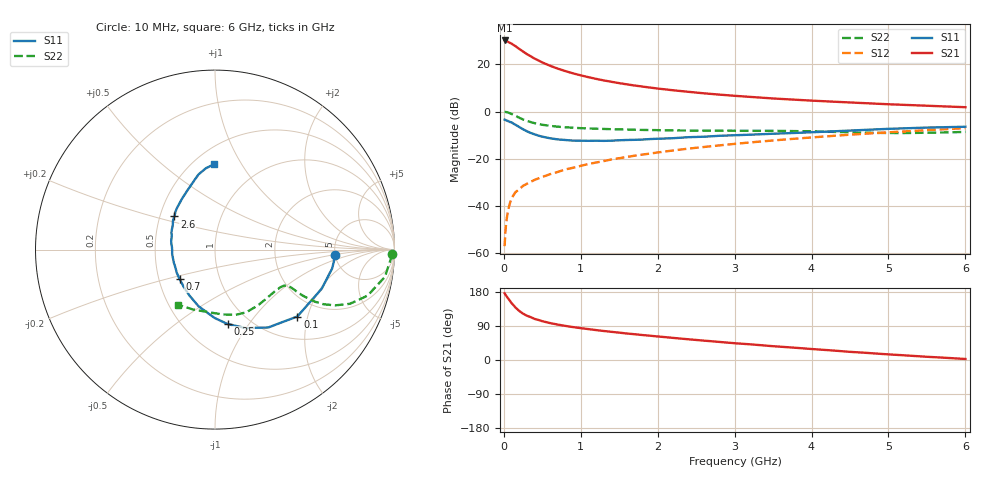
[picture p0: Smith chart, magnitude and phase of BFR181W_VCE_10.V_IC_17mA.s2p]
! Infineon Technologies  Discrete & RF Semiconductors
! BFR181W
! VCE =  10. V,  IC =  17 mA
! Common Emitter S-Parameters:  Jan 2017
# GHz  S  MA  R  50
!  f  S11  S21  S12  S22
! GHz  MAG  ANG  MAG  ANG  MAG  ANG  MAG  ANG
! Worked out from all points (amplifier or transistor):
!   77 points, 10 MHz to 6 GHz, reference 50 ohm
!   highest |S21| = 30.1 dB at 10 MHz (marker M1)
!   |S21| within 3 dB of that: start of sweep to 175.6 MHz
!   unconditionally stable (mu >= 1): 868.7 MHz to 2.718 GHz
!   at 130 MHz: K = 0.36, MSG = 31.7 dB, |S12| = -35.2 dB
!   at 2.2 GHz: K = 1.03, MAG = 11.6 dB, |S12| = -16.5 dB
!   at 6 GHz: K = 0.84, MSG = 4.4 dB, |S12| = -7.1 dB
!   S11 on the Smith chart (normalised r, x): 10 MHz: 5.01, -0.60; 100 MHz: 1.51, -1.73; 250 MHz: 0.79, -0.80; 700 MHz: 0.64, -0.22; 2.6 GHz: 0.59, +0.24; 6 GHz: 0.63, +0.77
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0.01  0.6714 -2.8  32.03 176.0  0.0014 88.1  0.9846 -1.5
0.02  0.6609 -9.2  31.52 172.6  0.0028 92.2  0.9798 -3.3
0.05  0.6333 -20.1  30.28 164.0  0.0072 77.5  0.9591 -9.1
0.1  0.5911 -39.1  27.5 150.0  0.0143 73.9  0.8887 -16.7
0.15  0.5258 -55.6  24.31 138.7  0.0194 68.8  0.8099 -21.9
0.2  0.4693 -68.6  21.21 129.5  0.0225 67.0  0.7378 -24.9
0.25  0.4207 -80.4  18.64 122.3  0.0266 64.7  0.6782 -26.7
0.3  0.3805 -90.4  16.43 116.8  0.0294 64.3  0.6301 -27.5
0.4  0.3283 -106.3  13.21 108.4  0.0355 65.0  0.5654 -27.7
0.5  0.2926 -119.2  10.94 102.4  0.041 65.8  0.5232 -27.4
0.6  0.2709 -130.2  9.336 97.5  0.0469 66.4  0.4958 -26.9
0.7  0.2564 -140.4  8.106 93.5  0.0523 68.1  0.4768 -26.5
0.9  0.2418 -156.3  6.426 86.8  0.0642 68.9  0.4528 -26.7
1.1  0.2391 -168.9  5.336 81.5  0.0773 70.1  0.4383 -27.3
1.3  0.2386 -179.4  4.554 76.5  0.0892 70.4  0.4267 -28.8
1.5  0.2458 172.1  3.99 72.2  0.1023 70.6  0.4176 -30.7
2.1  0.2678 152.7  2.94 60.3  0.1423 68.9  0.4 -38.9
2.6  0.2921 140.8  2.43 51.1  0.177 66.7  0.3929 -47.7
3.1  0.3182 130.4  2.096 42.9  0.2133 63.8  0.3899 -56.5
4.1  0.3689 113.7  1.67 27.6  0.2899 56.9  0.3771 -74.4
5.1  0.4342 101.0  1.404 13.6  0.3699 48.4  0.3498 -99.3
6  0.475 90.7  1.233 2.7  0.4436 39.9  0.3698 -124.0
